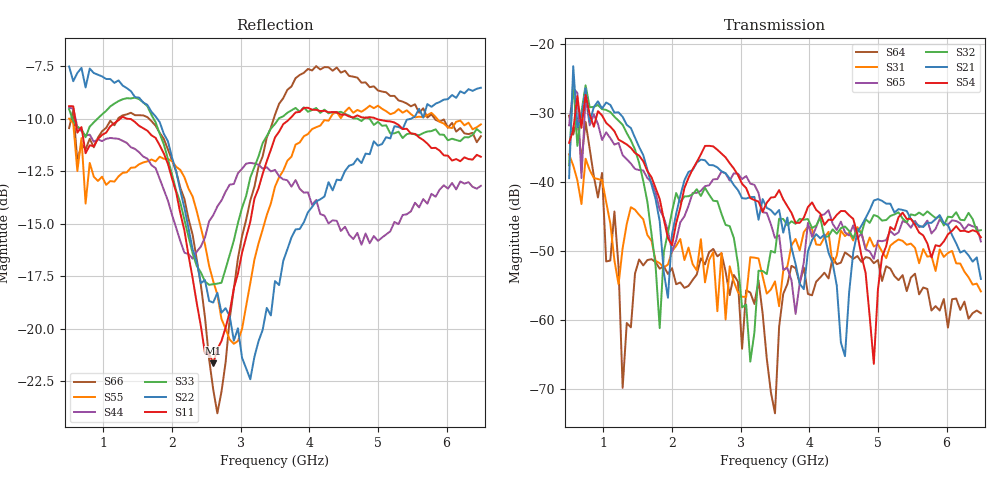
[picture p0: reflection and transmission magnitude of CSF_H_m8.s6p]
!Keysight Technologies,M9804A,MY58100912,A.14.10.03
!Date: Thursday, April 27, 2023 10:28:33
!Correction: S11(C  6-Port  )
!S12(C  6-Port  )
!S13(C  6-Port  )
!S14(C  6-Port  )
!S15(C  6-Port  )
!S16(C  6-Port  )
!S21(C  6-Port  )
!S22(C  6-Port  )
!S23(C  6-Port  )
!S24(C  6-Port  )
!S25(C  6-Port  )
!S26(C  6-Port  )
!S31(C  6-Port  )
!S32(C  6-Port  )
!S33(C  6-Port  )
!S34(C  6-Port  )
!S35(C  6-Port  )
!S36(C  6-Port  )
!S41(C  6-Port  )
!S42(C  6-Port  )
!S43(C  6-Port  )
!S44(C  6-Port  )
!S45(C  6-Port  )
!S46(C  6-Port  )
!S51(C  6-Port  )
!S52(C  6-Port  )
!S53(C  6-Port  )
!S54(C  6-Port  )
!S55(C  6-Port  )
!S56(C  6-Port  )
!S61(C  6-Port  )
!S62(C  6-Port  )
!S63(C  6-Port  )
!S64(C  6-Port  )
!S65(C  6-Port  )
!S66(C  6-Port  )
!S6P File: Measurement: :
# Hz S  RI  R 50
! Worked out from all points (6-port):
!   101 points, 500 MHz to 6.5 GHz, reference 50 ohm
!   strongest paths, dB at 500 MHz, 2 GHz, 3.5 GHz, 5 GHz, 6.5 GHz:
!     S54: -34.3, -49.1, -42.1, -55.5, -48.0
!     S21: -39.4, -47.6, -44.7, -42.5, -54.0
!     S32: -37.6, -44.2, -50.2, -45.0, -46.9
!     S65: -31.8, -50.1, -48.1, -48.5, -48.6
!     S31: -36.0, -50.0, -54.4, -49.0, -55.8
!     S64: -30.4, -52.5, -73.5, -51.3, -59.0
!   lowest |S11| = -21.7 dB at 2.6 GHz (marker M1), VSWR 1.18, Z = 42.6 + j1.97 ohm
!   |S11| at or under -10 dB: 588.3 MHz to 1.245 GHz (657.2 MHz wide, 71.7 % of centre); 1.345 GHz to 3.715 GHz (2.371 GHz wide, 93.7 % of centre); 4.974 GHz to end of sweep
